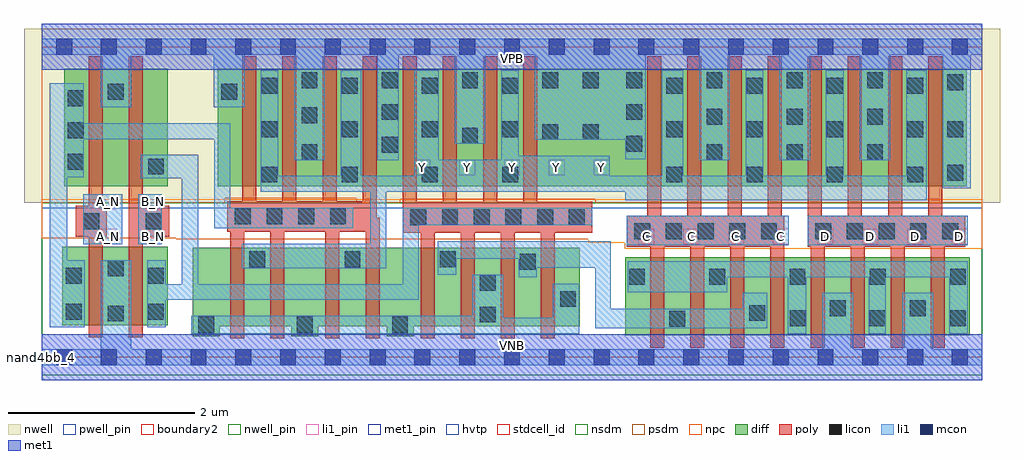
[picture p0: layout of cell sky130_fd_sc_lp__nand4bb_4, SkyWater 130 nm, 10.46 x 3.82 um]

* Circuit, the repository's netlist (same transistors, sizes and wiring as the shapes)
* Copyright 2020 The SkyWater PDK Authors
*
* Licensed under the Apache License, Version 2.0 (the "License");
* you may not use this file except in compliance with the License.
* You may obtain a copy of the License at
*
*     https://www.apache.org/licenses/LICENSE-2.0
*
* Unless required by applicable law or agreed to in writing, software
* distributed under the License is distributed on an "AS IS" BASIS,
* WITHOUT WARRANTIES OR CONDITIONS OF ANY KIND, either express or implied.
* See the License for the specific language governing permissions and
* limitations under the License.
*
* SPDX-License-Identifier: Apache-2.0

.SUBCKT sky130_fd_sc_lp__nand4bb_4 A_N B_N C D VGND VNB VPB VPWR Y
*.PININFO A_N:I B_N:I C:I D:I VGND:I VNB:I VPB:I VPWR:I Y:O
MMP0 Y A VPWR VPB sky130_fd_pr__pfet_01v8_hvt m=4 w=1.26U l=0.15U mult=1 sa=0.265
+ sb=0.265 sd=0.28 area=0.063 perim=1.14
MMP1 Y B VPWR VPB sky130_fd_pr__pfet_01v8_hvt m=4 w=1.26U l=0.15U mult=1 sa=0.265
+ sb=0.265 sd=0.28 area=0.063 perim=1.14
MMP2 Y C VPWR VPB sky130_fd_pr__pfet_01v8_hvt m=4 w=1.26U l=0.15U mult=1 sa=0.265
+ sb=0.265 sd=0.28 area=0.063 perim=1.14
MMP3 Y D VPWR VPB sky130_fd_pr__pfet_01v8_hvt m=4 w=1.26U l=0.15U mult=1 sa=0.265
+ sb=0.265 sd=0.28 area=0.063 perim=1.14
MMIP0 A A_N VPWR VPB sky130_fd_pr__pfet_01v8_hvt m=1 w=1.26U l=0.15U mult=1 sa=0.265
+ sb=0.265 sd=0.28 area=0.063 perim=1.14
MMIP1 B B_N VPWR VPB sky130_fd_pr__pfet_01v8_hvt m=1 w=1.26U l=0.15U mult=1 sa=0.265
+ sb=0.265 sd=0.28 area=0.063 perim=1.14
MMN0 Y A sndA VNB sky130_fd_pr__nfet_01v8 m=4 w=0.84U l=0.15U mult=1 sa=0.265 sb=0.265
+ sd=0.28 area=0.063 perim=1.14
MMN1 sndA B sndB VNB sky130_fd_pr__nfet_01v8 m=4 w=0.84U l=0.15U mult=1 sa=0.265
+ sb=0.265 sd=0.28 area=0.063 perim=1.14
MMN2 sndB C sndC VNB sky130_fd_pr__nfet_01v8 m=4 w=0.84U l=0.15U mult=1 sa=0.265
+ sb=0.265 sd=0.28 area=0.063 perim=1.14
MMN3 sndC D VGND VNB sky130_fd_pr__nfet_01v8 m=4 w=0.84U l=0.15U mult=1 sa=0.265
+ sb=0.265 sd=0.28 area=0.063 perim=1.14
MMIN0 A A_N VGND VNB sky130_fd_pr__nfet_01v8 m=1 w=0.84U l=0.15U mult=1 sa=0.265
+ sb=0.265 sd=0.28 area=0.063 perim=1.14
MMIN1 B B_N VGND VNB sky130_fd_pr__nfet_01v8 m=1 w=0.84U l=0.15U mult=1 sa=0.265
+ sb=0.265 sd=0.28 area=0.063 perim=1.14
.ENDS sky130_fd_sc_lp__nand4bb_4

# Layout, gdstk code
import gdstk
lib = gdstk.Library(unit=1e-6, precision=1e-09)
def R(c, l, rs):  # rectangles x0, y0, x1, y1
    for r in rs: c.add(gdstk.rectangle(r[:2], r[2:], *l))
def A(c, l, x, y, w, h, nx, ny, dx, dy):  # array of equal rectangles
    R(c, l, [(x+i*dx, y+j*dy, x+i*dx+w, y+j*dy+h) for i in range(nx) for j in range(ny)])
def P(c, l, *ps):  # polygons
    for p in ps: c.add(gdstk.Polygon(p, *l))
nwell_pin = (64, 16)
nwell = (64, 20)
diff = (65, 20)
poly = (66, 20)
licon = (66, 44)
li1_pin = (67, 16)
li1 = (67, 20)
mcon = (67, 44)
met1_pin = (68, 16)
met1 = (68, 20)
hvtp = (78, 44)
stdcell_id = (81, 4)
nsdm = (93, 44)
psdm = (94, 20)
npc = (95, 20)
pwell_pin = (122, 16)
boundary2 = (236, 0)

sky130_fd_sc_lp__nand4bb = lib.new_cell('sky130_fd_sc_lp__nand4bb_4')
R(sky130_fd_sc_lp__nand4bb, nwell_pin, [(0,3.085,10.08,3.33)])
R(sky130_fd_sc_lp__nand4bb, nwell, [(-0.19,1.655,10.27,3.52)])
R(sky130_fd_sc_lp__nand4bb, diff, [(6.255,0.235,9.945,1.075), (0.22,0.345,1.35,1.185), (0.24,1.835,1.35,3.095), (1.885,1.835,9.915,3.095)])
P(sky130_fd_sc_lp__nand4bb, diff, [(5.765,1.175),(1.62,1.175),(1.62,0.225),(1.91,0.225),(1.91,0.335),(2.675,0.335),(2.675,0.225),(2.965,0.225),(2.965,0.335),(3.695,0.335),(3.695,0.225),(3.985,0.225),(3.985,0.335),(5.765,0.335)])
P(sky130_fd_sc_lp__nand4bb, poly, [(0.695,1.625),(0.655,1.625),(0.655,3.225),(0.505,3.225),(0.505,1.625),(0.365,1.625),(0.365,1.295),(0.505,1.295),(0.505,0.215),(0.655,0.215),(0.655,1.295),(0.695,1.295)],
  [(1.365,1.625),(1.085,1.625),(1.085,3.225),(0.935,3.225),(0.935,0.215),(1.085,0.215),(1.085,1.295),(1.365,1.295)],
  [(3.62,1.495),(3.59,1.495),(3.59,3.225),(3.44,3.225),(3.44,1.675),(3.16,1.675),(3.16,3.225),(3.01,3.225),(3.01,1.675),(2.73,1.675),(2.73,3.225),(2.58,3.225),(2.58,1.675),(2.3,1.675),(2.3,3.225),(2.15,3.225),(2.15,1.675),(1.99,1.675),(1.99,1.345),(2.02,1.345),(2.02,0.205),(2.17,0.205),(2.17,1.345),(2.45,1.345),(2.45,0.205),(2.6,0.205),(2.6,1.345),(3.04,1.345),(3.04,0.205),(3.19,0.205),(3.19,1.345),(3.47,1.345),(3.47,0.205),(3.62,0.205)],
  [(5.9,1.665),(5.31,1.665),(5.31,3.225),(5.16,3.225),(5.16,1.665),(4.88,1.665),(4.88,3.225),(4.73,3.225),(4.73,1.665),(4.45,1.665),(4.45,3.225),(4.3,3.225),(4.3,1.665),(4.02,1.665),(4.02,3.225),(3.87,3.225),(3.87,1.335),(4.06,1.335),(4.06,0.205),(4.21,0.205),(4.21,1.335),(4.49,1.335),(4.49,0.205),(4.64,0.205),(4.64,1.335),(4.92,1.335),(4.92,0.205),(5.07,0.205),(5.07,1.335),(5.35,1.335),(5.35,0.205),(5.5,0.205),(5.5,1.335),(5.9,1.335)],
  [(7.96,1.515),(7.93,1.515),(7.93,3.225),(7.78,3.225),(7.78,1.515),(7.5,1.515),(7.5,3.225),(7.35,3.225),(7.35,1.515),(7.07,1.515),(7.07,3.225),(6.92,3.225),(6.92,1.515),(6.64,1.515),(6.64,3.225),(6.49,3.225),(6.49,1.515),(6.27,1.515),(6.27,1.185),(6.52,1.185),(6.52,0.105),(6.67,0.105),(6.67,1.185),(6.95,1.185),(6.95,0.105),(7.1,0.105),(7.1,1.185),(7.38,1.185),(7.38,0.105),(7.53,0.105),(7.53,1.185),(7.81,1.185),(7.81,0.105),(7.96,0.105)],
  [(9.9,1.515),(9.65,1.515),(9.65,3.225),(9.5,3.225),(9.5,1.515),(9.22,1.515),(9.22,3.225),(9.07,3.225),(9.07,1.515),(8.79,1.515),(8.79,3.225),(8.64,3.225),(8.64,1.515),(8.36,1.515),(8.36,3.225),(8.21,3.225),(8.21,1.185),(8.24,1.185),(8.24,0.105),(8.39,0.105),(8.39,1.185),(8.67,1.185),(8.67,0.105),(8.82,0.105),(8.82,1.185),(9.1,1.185),(9.1,0.105),(9.25,0.105),(9.25,1.185),(9.53,1.185),(9.53,0.105),(9.68,0.105),(9.68,1.185),(9.9,1.185)])
A(sky130_fd_sc_lp__nand4bb, licon, 8.015, 0.335, 0.17, 0.17, 3, 1, 0.86, 0)
A(sky130_fd_sc_lp__nand4bb, licon, 6.295, 0.78, 0.17, 0.17, 5, 1, 0.86, 0)
A(sky130_fd_sc_lp__nand4bb, licon, 2.225, 0.965, 0.17, 0.17, 3, 1, 1.02, 0)
A(sky130_fd_sc_lp__nand4bb, licon, 6.35, 1.265, 0.17, 0.17, 5, 1, 0.34, 0)
A(sky130_fd_sc_lp__nand4bb, licon, 8.29, 1.265, 0.17, 0.17, 5, 1, 0.34, 0)
A(sky130_fd_sc_lp__nand4bb, licon, 3.95, 1.415, 0.17, 0.17, 6, 1, 0.34, 0)
A(sky130_fd_sc_lp__nand4bb, licon, 2.07, 1.425, 0.17, 0.17, 4, 1, 0.34, 0)
A(sky130_fd_sc_lp__nand4bb, licon, 2.355, 1.875, 0.17, 0.17, 4, 2, 0.86, 0.485)
A(sky130_fd_sc_lp__nand4bb, licon, 6.695, 1.875, 0.17, 0.17, 4, 2, 0.86, 0.485)
A(sky130_fd_sc_lp__nand4bb, licon, 0.28, 2.01, 0.17, 0.17, 1, 3, 0, 0.34)
A(sky130_fd_sc_lp__nand4bb, licon, 7.125, 2.115, 0.17, 0.17, 3, 2, 0.86, 0.38)
A(sky130_fd_sc_lp__nand4bb, licon, 2.355, 2.825, 0.17, 0.17, 4, 1, 0.86, 0)
A(sky130_fd_sc_lp__nand4bb, licon, 6.695, 2.825, 0.17, 0.17, 4, 1, 0.86, 0)
A(sky130_fd_sc_lp__nand4bb, licon, 2.785, 2.885, 0.17, 0.17, 4, 1, 0.86, 0)
A(sky130_fd_sc_lp__nand4bb, licon, 6.265, 2.885, 0.17, 0.17, 4, 1, 0.86, 0)
R(sky130_fd_sc_lp__nand4bb, licon, [(1.68,0.265,1.85,0.435), (2.735,0.265,2.905,0.435), (3.755,0.265,3.925,0.435), (6.725,0.33,6.895,0.5), (4.695,0.375,4.865,0.545), (0.71,0.385,0.88,0.555), (7.585,0.39,7.755,0.56), (0.26,0.405,0.43,0.575), (1.14,0.405,1.31,0.575), (8.445,0.44,8.615,0.61), (9.305,0.44,9.475,0.61), (5.555,0.54,5.725,0.71), (4.695,0.715,4.865,0.885), (0.26,0.79,0.43,0.96), (1.14,0.79,1.31,0.96), (0.71,0.87,0.88,1.04), (5.125,0.94,5.295,1.11), (0.445,1.375,0.615,1.545), (1.115,1.375,1.285,1.545), (9.705,1.895,9.875,2.065), (1.14,1.96,1.31,2.13), (2.785,2.115,2.955,2.285), (3.645,2.195,3.815,2.365), (6.265,2.205,6.435,2.375), (4.505,2.29,4.675,2.46), (5.365,2.33,5.535,2.5), (5.8,2.33,5.97,2.5), (9.705,2.36,9.875,2.53), (2.785,2.51,2.955,2.68), (3.645,2.545,3.815,2.715), (6.265,2.545,6.435,2.715), (0.71,2.76,0.88,2.93), (1.925,2.76,2.095,2.93), (9.705,2.865,9.875,3.035), (5.8,2.885,5.97,3.055)])
A(sky130_fd_sc_lp__nand4bb, li1_pin, 6.395, 1.21, 0.17, 0.17, 8, 1, 0.48, 0)
A(sky130_fd_sc_lp__nand4bb, li1_pin, 3.995, 1.95, 0.17, 0.17, 5, 1, 0.48, 0)
R(sky130_fd_sc_lp__nand4bb, li1_pin, [(0.635,1.21,0.805,1.38), (1.115,1.21,1.285,1.38), (0.635,1.58,0.805,1.75), (1.115,1.58,1.285,1.75)])
R(sky130_fd_sc_lp__nand4bb, li1, [(6.27,1.2,8.005,1.515), (8.21,1.2,9.925,1.515), (0.445,1.21,0.865,1.75), (1.035,1.21,1.285,1.75)])
P(sky130_fd_sc_lp__nand4bb, li1, [(3.34,1.605),(2.02,1.605),(2.02,2.51),(0.45,2.51),(0.45,2.94),(0.085,2.94),(0.085,0.325),(0.46,0.325),(0.46,1.04),(0.275,1.04),(0.275,1.93),(0.45,1.93),(0.45,2.34),(1.85,2.34),(1.85,1.385),(3.34,1.385)],
  [(5.76,0.79),(5.475,0.79),(5.475,0.425),(4.945,0.425),(4.945,0.885),(4.615,0.885),(4.615,0.445),(1.6,0.445),(1.6,0.255),(5.76,0.255)],
  [(10.08,0.085),(9.555,0.085),(9.555,0.69),(9.225,0.69),(9.225,0.085),(8.695,0.085),(8.695,0.69),(8.365,0.69),(8.365,0.085),(0.96,0.085),(0.96,1.04),(0.63,1.04),(0.63,0.085),(0,0.085),(0,-0.085),(10.08,-0.085)],
  [(5.9,1.605),(3.87,1.605),(3.87,0.785),(1.68,0.785),(1.68,2.17),(1.06,2.17),(1.06,1.92),(1.5,1.92),(1.5,0.785),(1.33,0.785),(1.33,1.04),(1.13,1.04),(1.13,0.325),(1.33,0.325),(1.33,0.615),(4.04,0.615),(4.04,1.415),(5.9,1.415)],
  [(7.775,0.69),(7.515,0.69),(7.515,0.52),(6.1,0.52),(6.1,1.245),(4.245,1.245),(4.245,0.885),(4.445,0.885),(4.445,1.055),(5.115,1.055),(5.115,0.86),(5.305,0.86),(5.305,0.96),(5.93,0.96),(5.93,0.31),(7.775,0.31)],
  [(9.485,3.075),(9.265,3.075),(9.265,1.945),(8.595,1.945),(8.595,3.075),(8.405,3.075),(8.405,1.945),(7.735,1.945),(7.735,3.075),(7.545,3.075),(7.545,1.945),(6.875,1.945),(6.875,3.075),(6.645,3.075),(6.645,1.945),(6.085,1.945),(6.085,2.16),(5.115,2.16),(5.115,3.075),(4.925,3.075),(4.925,2.12),(4.255,2.12),(4.255,3.075),(3.995,3.075),(3.995,1.945),(3.425,1.945),(3.425,3.075),(3.205,3.075),(3.205,1.945),(2.535,1.945),(2.535,3.075),(2.345,3.075),(2.345,1.775),(3.52,1.775),(3.52,1.215),(2.145,1.215),(2.145,0.955),(3.69,0.955),(3.69,1.775),(6.255,1.775),(6.255,1.685),(9.485,1.685)],
  [(9.925,1.03),(6.28,1.03),(6.28,0.7),(7.345,0.7),(7.345,0.86),(7.995,0.86),(7.995,0.255),(8.195,0.255),(8.195,0.86),(8.865,0.86),(8.865,0.255),(9.045,0.255),(9.045,0.86),(9.725,0.86),(9.725,0.255),(9.925,0.255)],
  [(10.08,3.415),(0,3.415),(0,3.245),(0.63,3.245),(0.63,2.68),(0.96,2.68),(0.96,3.245),(1.845,3.245),(1.845,2.68),(2.175,2.68),(2.175,3.245),(2.705,3.245),(2.705,2.115),(3.035,2.115),(3.035,3.245),(3.595,3.245),(3.595,2.115),(3.825,2.115),(3.825,3.245),(4.425,3.245),(4.425,2.29),(4.755,2.29),(4.755,3.245),(5.285,3.245),(5.285,2.33),(6.255,2.33),(6.255,2.125),(6.475,2.125),(6.475,3.245),(7.045,3.245),(7.045,2.115),(7.375,2.115),(7.375,3.245),(7.905,3.245),(7.905,2.115),(8.235,2.115),(8.235,3.245),(8.765,3.245),(8.765,2.115),(9.095,2.115),(9.095,3.245),(9.655,3.245),(9.655,1.815),(9.955,1.815),(9.955,3.245),(10.08,3.245)])
A(sky130_fd_sc_lp__nand4bb, mcon, 0.155, -0.085, 0.17, 0.17, 21, 2, 0.48, 3.33)
R(sky130_fd_sc_lp__nand4bb, met1_pin, [(0,0,10.08,0.245), (0,3.085,10.08,3.33)])
R(sky130_fd_sc_lp__nand4bb, met1, [(0,-0.245,10.08,0.245), (0,3.085,10.08,3.575)])
R(sky130_fd_sc_lp__nand4bb, hvtp, [(0,1.6,10.08,3.33)])
R(sky130_fd_sc_lp__nand4bb, stdcell_id, [(0,0,10.08,3.33)])
R(sky130_fd_sc_lp__nand4bb, nsdm, [(0,-0.19,10.08,1.655)])
P(sky130_fd_sc_lp__nand4bb, psdm, [(10.08,3.52),(0,3.52),(0,1.655),(1.96,1.655),(1.96,1.705),(3.37,1.705),(3.37,1.655),(3.84,1.655),(3.84,1.695),(5.93,1.695),(5.93,1.655),(10.08,1.655)])
P(sky130_fd_sc_lp__nand4bb, npc, [(10.08,1.695),(0,1.695),(0,1.275),(1.44,1.275),(1.44,1.265),(5.855,1.265),(5.855,1.23),(6.25,1.23),(6.25,1.165),(10.08,1.165)])
R(sky130_fd_sc_lp__nand4bb, pwell_pin, [(0,0,10.08,0.245)])
R(sky130_fd_sc_lp__nand4bb, boundary2, [(0,0,10.08,3.33)])
sky130_fd_sc_lp__nand4bb.add(gdstk.Label('VNB', (5.04,0.123), layer=64, texttype=59))
sky130_fd_sc_lp__nand4bb.add(gdstk.Label('VPB', (5.04,3.208), layer=64, texttype=5))
sky130_fd_sc_lp__nand4bb.add(gdstk.Label('nand4bb_4', (0,0), layer=83, texttype=44))
sky130_fd_sc_lp__nand4bb.add(gdstk.Label('VPWR', (5.04,3.208), layer=68, texttype=5))
sky130_fd_sc_lp__nand4bb.add(gdstk.Label('VGND', (5.04,0.123), layer=68, texttype=5))
sky130_fd_sc_lp__nand4bb.add(gdstk.Label('C', (6.48,1.295), layer=67, texttype=5))
sky130_fd_sc_lp__nand4bb.add(gdstk.Label('C', (6.96,1.295), layer=67, texttype=5))
sky130_fd_sc_lp__nand4bb.add(gdstk.Label('C', (7.44,1.295), layer=67, texttype=5))
sky130_fd_sc_lp__nand4bb.add(gdstk.Label('C', (7.92,1.295), layer=67, texttype=5))
sky130_fd_sc_lp__nand4bb.add(gdstk.Label('D', (8.4,1.295), layer=67, texttype=5))
sky130_fd_sc_lp__nand4bb.add(gdstk.Label('D', (8.88,1.295), layer=67, texttype=5))
sky130_fd_sc_lp__nand4bb.add(gdstk.Label('D', (9.36,1.295), layer=67, texttype=5))
sky130_fd_sc_lp__nand4bb.add(gdstk.Label('D', (9.84,1.295), layer=67, texttype=5))
sky130_fd_sc_lp__nand4bb.add(gdstk.Label('A_N', (0.72,1.295), layer=67, texttype=5))
sky130_fd_sc_lp__nand4bb.add(gdstk.Label('A_N', (0.72,1.665), layer=67, texttype=5))
sky130_fd_sc_lp__nand4bb.add(gdstk.Label('B_N', (1.2,1.295), layer=67, texttype=5))
sky130_fd_sc_lp__nand4bb.add(gdstk.Label('B_N', (1.2,1.665), layer=67, texttype=5))
sky130_fd_sc_lp__nand4bb.add(gdstk.Label('Y', (4.08,2.035), layer=67, texttype=5))
sky130_fd_sc_lp__nand4bb.add(gdstk.Label('Y', (4.56,2.035), layer=67, texttype=5))
sky130_fd_sc_lp__nand4bb.add(gdstk.Label('Y', (5.04,2.035), layer=67, texttype=5))
sky130_fd_sc_lp__nand4bb.add(gdstk.Label('Y', (5.52,2.035), layer=67, texttype=5))
sky130_fd_sc_lp__nand4bb.add(gdstk.Label('Y', (6,2.035), layer=67, texttype=5))

lib.write_gds('sky130_fd_sc_lp__nand4bb_4.gds')
